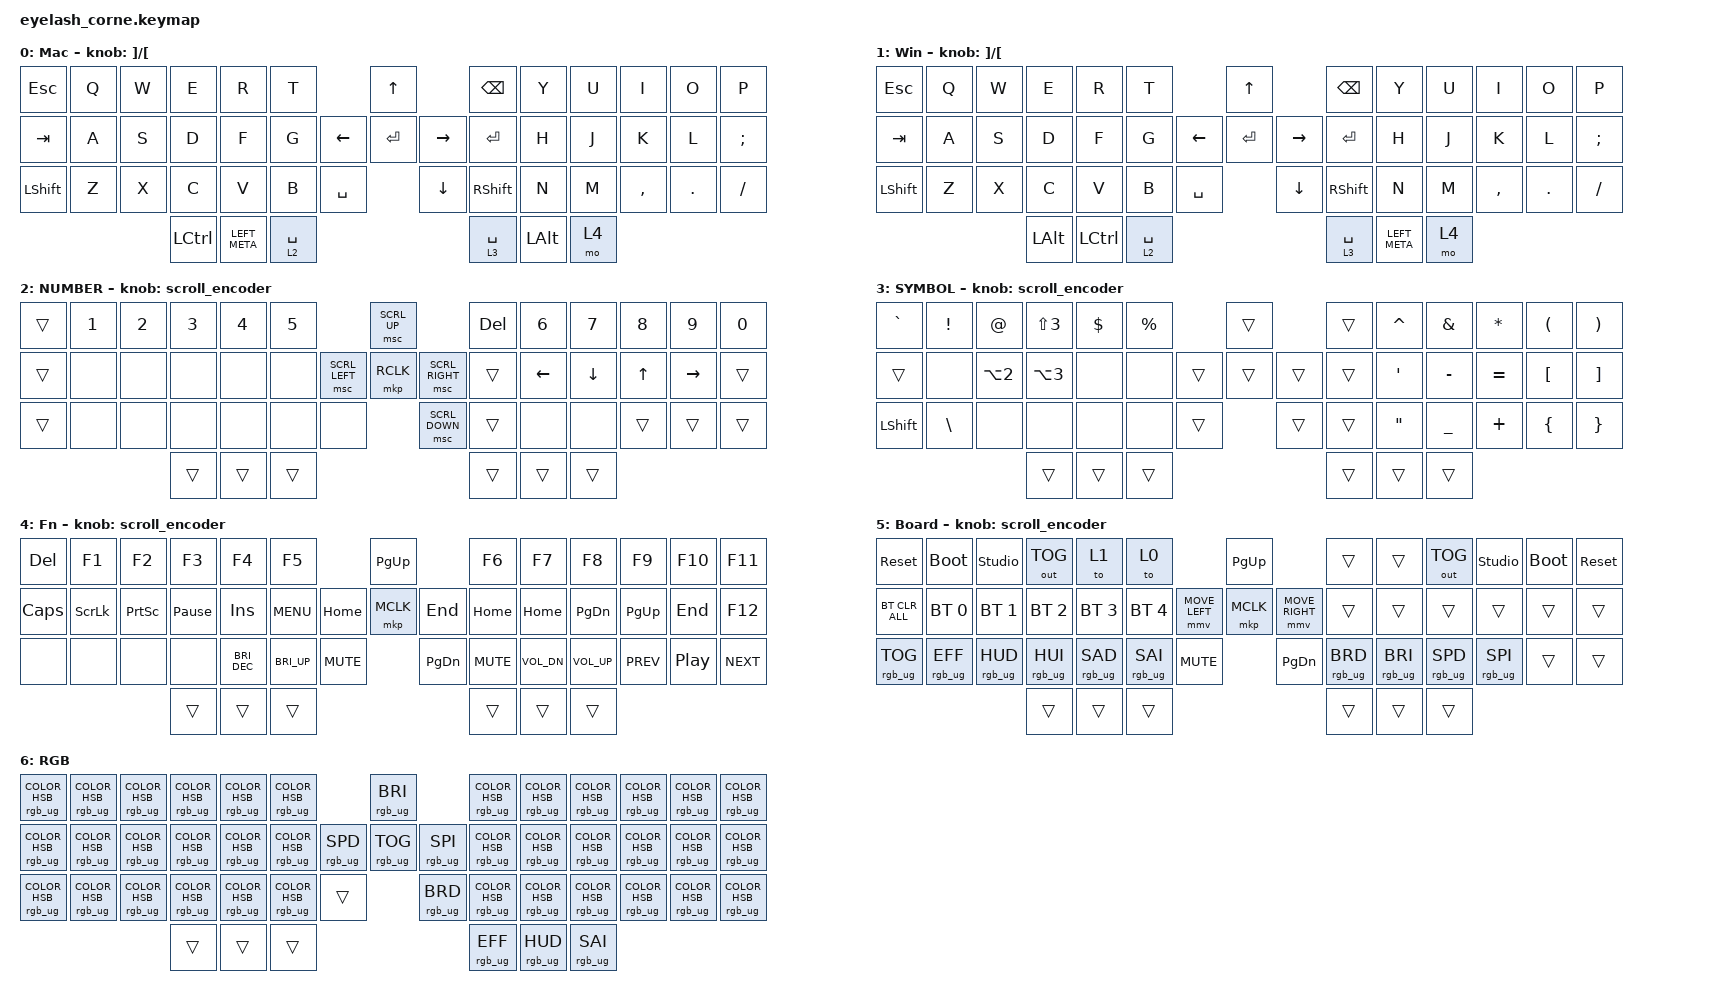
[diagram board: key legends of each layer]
#define ZMK_POINTING_DEFAULT_MOVE_VAL 1200  // 600
#define ZMK_POINTING_DEFAULT_SCRL_VAL 25   // 10

#include <input/processors.dtsi>
#include <zephyr/dt-bindings/input/input-event-codes.h>
#include <behaviors.dtsi>
#include <dt-bindings/zmk/bt.h>
#include <dt-bindings/zmk/keys.h>
#include <dt-bindings/zmk/outputs.h>
#include <dt-bindings/zmk/pointing.h>
#include <dt-bindings/zmk/rgb.h>

&mmv_input_listener { input-processors = <&zip_xy_scaler 2 1>; };

&msc_input_listener { input-processors = <&zip_scroll_scaler 2 1>; };

&msc {
    acceleration-exponent = <1>;      // 0
    time-to-max-speed-ms = <100>;       // 300
    delay-ms = <0>;                   // 0
};

&mmv {
    time-to-max-speed-ms = <500>;
    acceleration-exponent = <1>;
    trigger-period-ms = <16>;
};

&soft_off { hold-time-ms = <2000>; };

/ {
    behaviors {
        td0: td0 {
            compatible = "zmk,behavior-tap-dance";
            display-name = "Shift/Caps Lock Tap Dance";
            #binding-cells = <0>;
            bindings = <&kp LEFT_SHIFT>, <&kp CAPS>;
        };
    };

    rgb_encoder: rgb_encoder {
        compatible = "zmk,behavior-sensor-rotate";
        #sensor-binding-cells = <0>;
        bindings = <&rgb_ug RGB_BRI>, <&rgb_ug RGB_BRD>;
    };

    scroll_encoder: scroll_encoder {
        compatible = "zmk,behavior-sensor-rotate";
        #sensor-binding-cells = <0>;
        bindings = <&msc SCRL_DOWN>, <&msc SCRL_UP>;

        tap-ms = <100>;
    };

    combos {
        compatible = "zmk,combos";

        softoff {
            bindings = <&soft_off>;
            key-positions = <1 15 29>;
        };

        board_layer_left {
            bindings = <&mo 5>;
            key-positions = <43 42 44>;
        };

        board_layer_right {
            bindings = <&mo 5>;
            key-positions = <46 47 45>;
        };
    };

    keymap {
        compatible = "zmk,keymap";

        default_layer_mac {
            display-name = "Mac";
            bindings = <
&kp ESCAPE      &kp Q  &kp W  &kp E      &kp R          &kp T                               &kp UP_ARROW               &kp BACKSPACE    &kp Y         &kp U  &kp I      &kp O       &kp P
&kp TAB         &kp A  &kp S  &kp D      &kp F          &kp G                     &kp LEFT  &kp ENTER       &kp RIGHT  &kp ENTER        &kp H         &kp J  &kp K      &kp L       &kp SEMICOLON
&kp LEFT_SHIFT  &kp Z  &kp X  &kp C      &kp V          &kp B        &kp SPACE              &kp DOWN_ARROW             &kp RIGHT_SHIFT  &kp N         &kp M  &kp COMMA  &kp PERIOD  &kp SLASH
                              &kp LCTRL  &kp LEFT_META  &lt 2 SPACE                                                    &lt 3 SPACE      &kp LEFT_ALT  &mo 4
            >;

            sensor-bindings = <&inc_dec_kp RIGHT_BRACKET LEFT_BRACKET>;
        };

        default_layer_win {
            display-name = "Win";
            bindings = <
&kp ESCAPE      &kp Q  &kp W  &kp E         &kp R      &kp T                               &kp UP_ARROW               &kp BACKSPACE    &kp Y          &kp U  &kp I      &kp O       &kp P
&kp TAB         &kp A  &kp S  &kp D         &kp F      &kp G                     &kp LEFT  &kp ENTER       &kp RIGHT  &kp ENTER        &kp H          &kp J  &kp K      &kp L       &kp SEMICOLON
&kp LEFT_SHIFT  &kp Z  &kp X  &kp C         &kp V      &kp B        &kp SPACE              &kp DOWN_ARROW             &kp RIGHT_SHIFT  &kp N          &kp M  &kp COMMA  &kp PERIOD  &kp SLASH
                              &kp LEFT_ALT  &kp LCTRL  &lt 2 SPACE                                                    &lt 3 SPACE      &kp LEFT_META  &mo 4
            >;

            sensor-bindings = <&inc_dec_kp RIGHT_BRACKET LEFT_BRACKET>;
        };

        number_layer {
            display-name = "NUMBER";
            bindings = <
&trans  &kp N1  &kp N2  &kp N3  &kp N4  &kp N5                           &msc SCRL_UP                     &kp DEL  &kp N6          &kp NUMBER_7  &kp NUMBER_8  &kp N9     &kp NUMBER_0
&trans  &none   &none   &none   &none   &none            &msc SCRL_LEFT  &mkp RCLK       &msc SCRL_RIGHT  &trans   &kp LEFT_ARROW  &kp DOWN      &kp UP        &kp RIGHT  &trans
&trans  &none   &none   &none   &none   &none   &none                    &msc SCRL_DOWN                   &trans   &none           &none         &trans        &trans     &trans
                        &trans  &trans  &trans                                                            &trans   &trans          &trans
            >;

            sensor-bindings = <&scroll_encoder>;
        };

        symbol_layer {
            display-name = "SYMBOL";
            bindings = <
&kp GRAVE   &kp EXCL       &kp AT            &kp LS(NUMBER_3)  &kp DOLLAR  &kp PRCNT                    &trans          &trans  &kp CARET          &kp AMPS   &kp ASTERISK  &kp LEFT_PARENTHESIS  &kp RIGHT_PARENTHESIS
&trans      &none          &kp LA(NUMBER_2)  &kp LA(NUMBER_3)  &none       &none                &trans  &trans  &trans  &trans  &kp SQT            &kp MINUS  &kp EQUAL     &kp LEFT_BRACKET      &kp RIGHT_BRACKET
&kp LSHIFT  &kp BACKSLASH  &none             &none             &none       &none      &trans            &trans          &trans  &kp DOUBLE_QUOTES  &kp UNDER  &kp PLUS      &kp LEFT_BRACE        &kp RIGHT_BRACE
                                             &trans            &trans      &trans                                       &trans  &trans             &trans
            >;

            sensor-bindings = <&scroll_encoder>;
        };

        function_layer {
            display-name = "Fn";
            bindings = <
&kp DEL   &kp F1          &kp F2           &kp F3           &kp F4         &kp F5                                &kp PAGE_UP             &kp F6      &kp F7        &kp F8         &kp F9      &kp F10   &kp F11
&kp CAPS  &kp SCROLLLOCK  &kp PRINTSCREEN  &kp PAUSE_BREAK  &kp INSERT     &kp C_MENU                  &kp HOME  &mkp MCLK      &kp END  &kp HOME    &kp HOME      &kp PAGE_DOWN  &kp PG_UP   &kp END   &kp F12
&none     &none           &none            &none            &kp C_BRI_DEC  &kp C_BRI_UP  &kp C_MUTE              &kp PAGE_DOWN           &kp C_MUTE  &kp C_VOL_DN  &kp C_VOL_UP   &kp C_PREV  &kp C_PP  &kp C_NEXT
                                           &trans           &trans         &trans                                                        &trans      &trans        &trans
            >;

            sensor-bindings = <&scroll_encoder>;
        };

        board_layer {
            display-name = "Board";
            bindings = <
&sys_reset       &bootloader      &studio_unlock   &out OUT_TOG     &to 1            &to 0                                          &kp PAGE_UP                     &trans           &trans           &out OUT_TOG     &studio_unlock   &bootloader  &sys_reset
&bt BT_CLR_ALL   &bt BT_SEL 0     &bt BT_SEL 1     &bt BT_SEL 2     &bt BT_SEL 3     &bt BT_SEL 4                   &mmv MOVE_LEFT  &mkp MCLK      &mmv MOVE_RIGHT  &trans           &trans           &trans           &trans           &trans       &trans
&rgb_ug RGB_TOG  &rgb_ug RGB_EFF  &rgb_ug RGB_HUD  &rgb_ug RGB_HUI  &rgb_ug RGB_SAD  &rgb_ug RGB_SAI  &kp C_MUTE                    &kp PAGE_DOWN                   &rgb_ug RGB_BRD  &rgb_ug RGB_BRI  &rgb_ug RGB_SPD  &rgb_ug RGB_SPI  &trans       &trans
                                                   &trans           &trans           &trans                                                                         &trans           &trans           &trans
            >;

            sensor-bindings = <&scroll_encoder>;
        };

        rgb_layer {
            bindings = <
&rgb_ug RGB_COLOR_HSB(0,100,50)  &rgb_ug RGB_COLOR_HSB(30,100,50)  &rgb_ug RGB_COLOR_HSB(60,100,50)  &rgb_ug RGB_COLOR_HSB(90,100,50)  &rgb_ug RGB_COLOR_HSB(120,100,50)  &rgb_ug RGB_COLOR_HSB(150,100,50)                             &rgb_ug RGB_BRI                   &rgb_ug RGB_COLOR_HSB(180,100,50)  &rgb_ug RGB_COLOR_HSB(210,100,50)  &rgb_ug RGB_COLOR_HSB(240,100,50)  &rgb_ug RGB_COLOR_HSB(270,100,50)  &rgb_ug RGB_COLOR_HSB(300,100,50)  &rgb_ug RGB_COLOR_HSB(330,100,50)
&rgb_ug RGB_COLOR_HSB(0,100,35)  &rgb_ug RGB_COLOR_HSB(30,100,35)  &rgb_ug RGB_COLOR_HSB(60,100,35)  &rgb_ug RGB_COLOR_HSB(90,100,35)  &rgb_ug RGB_COLOR_HSB(120,100,35)  &rgb_ug RGB_COLOR_HSB(150,100,35)            &rgb_ug RGB_SPD  &rgb_ug RGB_TOG  &rgb_ug RGB_SPI  &rgb_ug RGB_COLOR_HSB(180,100,35)  &rgb_ug RGB_COLOR_HSB(210,100,35)  &rgb_ug RGB_COLOR_HSB(240,100,35)  &rgb_ug RGB_COLOR_HSB(270,100,35)  &rgb_ug RGB_COLOR_HSB(300,100,35)  &rgb_ug RGB_COLOR_HSB(330,100,35)
&rgb_ug RGB_COLOR_HSB(0,100,15)  &rgb_ug RGB_COLOR_HSB(30,100,15)  &rgb_ug RGB_COLOR_HSB(60,100,15)  &rgb_ug RGB_COLOR_HSB(90,100,15)  &rgb_ug RGB_COLOR_HSB(120,100,15)  &rgb_ug RGB_COLOR_HSB(150,100,15)  &trans                     &rgb_ug RGB_BRD                   &rgb_ug RGB_COLOR_HSB(180,100,15)  &rgb_ug RGB_COLOR_HSB(210,100,15)  &rgb_ug RGB_COLOR_HSB(240,100,15)  &rgb_ug RGB_COLOR_HSB(270,100,15)  &rgb_ug RGB_COLOR_HSB(300,100,15)  &rgb_ug RGB_COLOR_HSB(330,100,15)
                                                                                                     &trans                            &trans                             &trans                                                                                          &rgb_ug RGB_EFF                    &rgb_ug RGB_HUD                    &rgb_ug RGB_SAI
            >;

            label = "RGB";
        };
    };

    conditional_layers { compatible = "zmk,conditional-layers"; };
};
